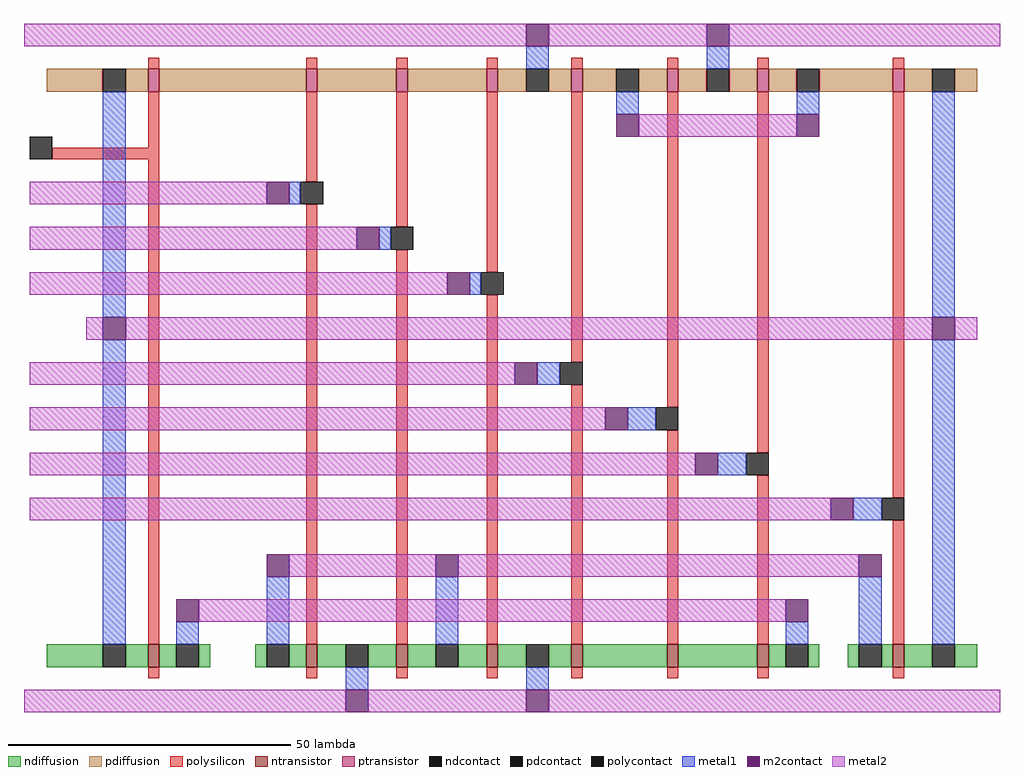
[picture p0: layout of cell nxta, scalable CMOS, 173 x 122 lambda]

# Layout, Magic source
magic
tech scmos
<< polysilicon >>
rect 7 114 9 116
rect 35 114 37 116
rect 51 114 53 116
rect 67 114 69 116
rect 82 114 84 116
rect 99 114 101 116
rect 115 114 117 116
rect 139 114 141 116
rect 7 100 9 110
rect -10 98 9 100
rect 7 12 9 98
rect 35 94 37 110
rect 35 12 37 90
rect 51 86 53 110
rect 51 12 53 82
rect 67 78 69 110
rect 67 12 69 74
rect 82 62 84 110
rect 82 12 84 58
rect 99 54 101 110
rect 99 12 101 50
rect 115 46 117 110
rect 115 12 117 42
rect 139 38 141 110
rect 139 12 141 34
rect 7 6 9 8
rect 35 6 37 8
rect 51 6 53 8
rect 67 6 69 8
rect 82 6 84 8
rect 99 6 101 8
rect 115 6 117 8
rect 139 6 141 8
<< ndiffusion >>
rect -11 8 -1 12
rect 3 8 7 12
rect 9 8 12 12
rect 16 8 18 12
rect 26 8 28 12
rect 32 8 35 12
rect 37 8 42 12
rect 46 8 51 12
rect 53 8 58 12
rect 62 8 67 12
rect 69 8 74 12
rect 78 8 82 12
rect 84 8 99 12
rect 101 8 115 12
rect 117 8 120 12
rect 124 8 126 12
rect 131 8 133 12
rect 137 8 139 12
rect 141 8 146 12
rect 150 8 154 12
<< pdiffusion >>
rect -11 110 -1 114
rect 3 110 7 114
rect 9 110 35 114
rect 37 110 51 114
rect 53 110 67 114
rect 69 110 74 114
rect 78 110 82 114
rect 84 110 90 114
rect 94 110 99 114
rect 101 110 106 114
rect 110 110 115 114
rect 117 110 122 114
rect 126 110 139 114
rect 141 110 146 114
rect 150 110 154 114
<< metal1 >>
rect 74 114 78 118
rect 106 114 110 118
rect -1 70 3 110
rect 90 106 94 110
rect 122 106 126 110
rect 32 90 34 94
rect 48 82 50 86
rect 64 74 66 78
rect -1 12 3 66
rect 146 70 150 110
rect 76 58 80 62
rect 92 50 97 54
rect 108 42 113 46
rect 132 34 137 38
rect 12 12 16 16
rect 28 12 32 24
rect 58 12 62 24
rect 120 12 124 16
rect 133 12 137 24
rect 146 12 150 66
rect 42 4 46 8
rect 74 4 78 8
<< metal2 >>
rect -15 118 74 122
rect 78 118 106 122
rect 110 118 158 122
rect 94 102 122 106
rect -14 90 28 94
rect -14 82 44 86
rect -14 74 60 78
rect -4 66 -1 70
rect 3 66 146 70
rect 150 66 154 70
rect -14 58 72 62
rect -14 50 88 54
rect -14 42 104 46
rect -14 34 128 38
rect 32 24 58 28
rect 62 24 133 28
rect 16 16 120 20
rect -15 0 42 4
rect 46 0 74 4
rect 78 0 158 4
<< ntransistor >>
rect 7 8 9 12
rect 35 8 37 12
rect 51 8 53 12
rect 67 8 69 12
rect 82 8 84 12
rect 99 8 101 12
rect 115 8 117 12
rect 139 8 141 12
<< ptransistor >>
rect 7 110 9 114
rect 35 110 37 114
rect 51 110 53 114
rect 67 110 69 114
rect 82 110 84 114
rect 99 110 101 114
rect 115 110 117 114
rect 139 110 141 114
<< polycontact >>
rect -14 98 -10 102
rect 34 90 38 94
rect 50 82 54 86
rect 66 74 70 78
rect 80 58 84 62
rect 97 50 101 54
rect 113 42 117 46
rect 137 34 141 38
<< ndcontact >>
rect -1 8 3 12
rect 12 8 16 12
rect 28 8 32 12
rect 42 8 46 12
rect 58 8 62 12
rect 74 8 78 12
rect 120 8 124 12
rect 133 8 137 12
rect 146 8 150 12
<< pdcontact >>
rect -1 110 3 114
rect 74 110 78 114
rect 90 110 94 114
rect 106 110 110 114
rect 122 110 126 114
rect 146 110 150 114
<< m2contact >>
rect 74 118 78 122
rect 106 118 110 122
rect 90 102 94 106
rect 122 102 126 106
rect 28 90 32 94
rect 44 82 48 86
rect 60 74 64 78
rect -1 66 3 70
rect 146 66 150 70
rect 72 58 76 62
rect 88 50 92 54
rect 104 42 108 46
rect 128 34 132 38
rect 28 24 32 28
rect 12 16 16 20
rect 58 24 62 28
rect 133 24 137 28
rect 120 16 124 20
rect 42 0 46 4
rect 74 0 78 4
<< end >>
